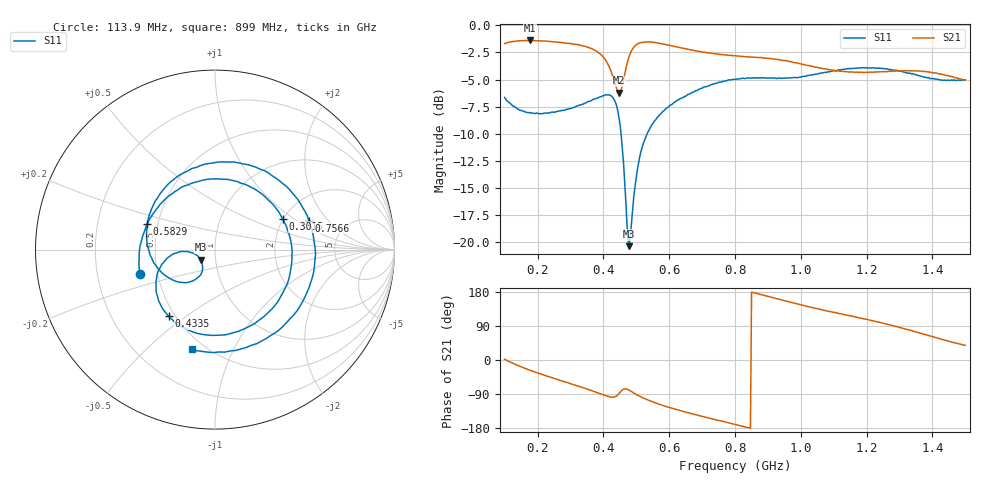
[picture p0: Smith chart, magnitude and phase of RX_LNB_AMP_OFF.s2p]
# HZ S RI R 50
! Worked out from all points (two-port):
!   404 points, 100 MHz to 1.5 GHz, reference 50 ohm
!   highest |S21| = -1.40 dB at 176.4 MHz (marker M1); lowest = -6.2 dB at 447.4 MHz (marker M2)
!   |S21| within 3 dB of the highest: start of sweep to 425.2 MHz; 465.7 MHz to 1.41 GHz (944.6 MHz wide, 101 % of centre)
!   lowest |S11| = -20.4 dB at 478.7 MHz (marker M3), VSWR 1.21, Z = 42.6 - j4.89 ohm
!   |S11| at or under -10 dB: 453.7 MHz to 533 MHz (79.25 MHz wide, 16.1 % of centre)
!   S12 and S22 are empty: the file has one direction only
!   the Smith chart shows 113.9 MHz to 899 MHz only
!   S11 on the Smith chart (normalised r, x): 113.9 MHz: 0.40, -0.13; 301.5 MHz: 1.99, +0.82; 433.5 MHz: 0.46, -0.43; 582.9 MHz: 0.44, +0.15; 756.6 MHz: 2.75, +1.27; 899 MHz: 0.43, -0.70
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1e8  -0.3945 -0.2461  0.8226 0.0292  0 0  0 0
1.138958e8  -0.4186 -0.1356  0.834 -0.0608  0 0  0 0
1.764268e8  -0.2917 0.2661  0.7602 -0.3837  0 0  0 0
3.014888e8  0.3772 0.1707  0.3776 -0.7318  0 0  0 0
3.362283e8  0.4283 -0.0616  0.2428 -0.7668  0 0  0 0
4.334987e8  -0.2576 -0.3719  -0.0713 -0.5469  0 0  0 0
4.473945e8  -0.329 -0.1818  0.013 -0.4887  0 0  0 0
4.7866e8  -0.0773 -0.0569  0.1282 -0.7088  0 0  0 0
5.689826e8  -0.3799 0.0532  -0.3678 -0.74  0 0  0 0
5.828784e8  -0.3773 0.1406  -0.4147 -0.7066  0 0  0 0
6.732009e8  0.061 0.4881  -0.6108 -0.4633  0 0  0 0
7.565756e8  0.5224 0.1621  -0.6925 -0.2421  0 0  0 0
8.017369e8  0.5319 -0.187  -0.7141 -0.1204  0 0  0 0
8.990074e8  -0.1285 -0.5554  -0.6895 0.1435  0 0  0 0
9.684862e8  -0.556 -0.1357  -0.6038 0.3138  0 0  0 0
1.034491e9  -0.4282 0.4093  -0.4827 0.4313  0 0  0 0
1.131762e9  0.3009 0.55  -0.3054 0.5303  0 0  0 0
1.204715e9  0.625 0.1062  -0.1701 0.582  0 0  0 0
1.267246e9  0.5036 -0.3735  -0.0348 0.6125  0 0  0 0
1.336724e9  -0.028 -0.596  0.1327 0.6027  0 0  0 0
1.406203e9  -0.513 -0.2385  0.3015 0.5224  0 0  0 0
1.5e9  -0.2955 0.4766  0.4369 0.3489  0 0  0 0
